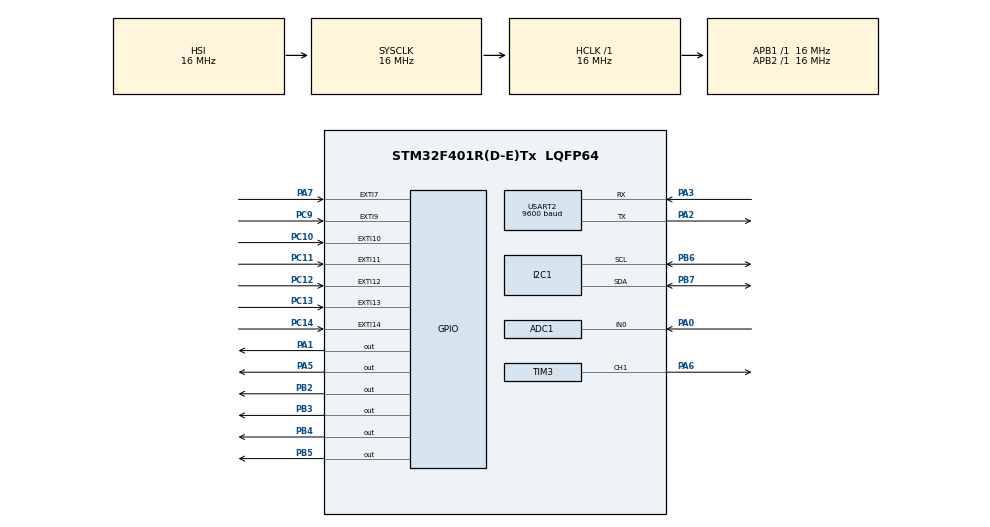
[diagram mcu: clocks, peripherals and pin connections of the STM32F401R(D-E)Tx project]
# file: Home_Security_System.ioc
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ADC1.Channel-0\#ChannelRegularConversion=ADC_CHANNEL_0
ADC1.ContinuousConvMode=ENABLE
ADC1.DMAContinuousRequests=DISABLE
ADC1.EOCSelection=ADC_EOC_SEQ_CONV
ADC1.NbrOfConversionFlag=1
ADC1.Rank-0\#ChannelRegularConversion=1
ADC1.SamplingTime-0\#ChannelRegularConversion=ADC_SAMPLETIME_480CYCLES
ADC1.master=1
Dma.I2C1_RX.0.Direction=DMA_PERIPH_TO_MEMORY
Dma.I2C1_RX.0.FIFOMode=DMA_FIFOMODE_DISABLE
Dma.I2C1_RX.0.Instance=DMA1_Stream0
Dma.I2C1_RX.0.MemDataAlignment=DMA_MDATAALIGN_BYTE
Dma.I2C1_RX.0.MemInc=DMA_MINC_ENABLE
Dma.I2C1_RX.0.Mode=DMA_NORMAL
Dma.I2C1_RX.0.PeriphDataAlignment=DMA_PDATAALIGN_BYTE
Dma.I2C1_RX.0.PeriphInc=DMA_PINC_DISABLE
Dma.I2C1_RX.0.Priority=DMA_PRIORITY_LOW
Dma.I2C1_TX.1.Direction=DMA_MEMORY_TO_PERIPH
Dma.I2C1_TX.1.FIFOMode=DMA_FIFOMODE_DISABLE
Dma.I2C1_TX.1.Instance=DMA1_Stream7
Dma.I2C1_TX.1.MemDataAlignment=DMA_MDATAALIGN_BYTE
Dma.I2C1_TX.1.MemInc=DMA_MINC_ENABLE
Dma.I2C1_TX.1.Mode=DMA_NORMAL
Dma.I2C1_TX.1.PeriphDataAlignment=DMA_PDATAALIGN_BYTE
Dma.I2C1_TX.1.PeriphInc=DMA_PINC_DISABLE
Dma.I2C1_TX.1.Priority=DMA_PRIORITY_LOW
Dma.Request0=I2C1_RX
Dma.Request1=I2C1_TX
Dma.Request2=USART2_TX
Dma.Request3=USART2_RX
Dma.USART2_RX.3.Direction=DMA_PERIPH_TO_MEMORY
Dma.USART2_RX.3.FIFOMode=DMA_FIFOMODE_DISABLE
Dma.USART2_RX.3.Instance=DMA1_Stream5
Dma.USART2_RX.3.MemDataAlignment=DMA_MDATAALIGN_BYTE
Dma.USART2_RX.3.MemInc=DMA_MINC_ENABLE
Dma.USART2_RX.3.Mode=DMA_NORMAL
Dma.USART2_RX.3.PeriphDataAlignment=DMA_PDATAALIGN_BYTE
Dma.USART2_RX.3.PeriphInc=DMA_PINC_DISABLE
Dma.USART2_RX.3.Priority=DMA_PRIORITY_LOW
Dma.USART2_TX.2.Direction=DMA_MEMORY_TO_PERIPH
Dma.USART2_TX.2.FIFOMode=DMA_FIFOMODE_DISABLE
Dma.USART2_TX.2.Instance=DMA1_Stream6
Dma.USART2_TX.2.MemDataAlignment=DMA_MDATAALIGN_BYTE
Dma.USART2_TX.2.MemInc=DMA_MINC_ENABLE
Dma.USART2_TX.2.Mode=DMA_NORMAL
Dma.USART2_TX.2.PeriphDataAlignment=DMA_PDATAALIGN_BYTE
Dma.USART2_TX.2.PeriphInc=DMA_PINC_DISABLE
Dma.USART2_TX.2.Priority=DMA_PRIORITY_LOW
Mcu.Family=STM32F4
Mcu.Name=STM32F401R(D-E)Tx
Mcu.Package=LQFP64
NVIC.ADC_IRQn=true\:0\:0\:false\:false\:true\:true\:true
NVIC.DMA1_Stream0_IRQn=true\:0\:0\:false\:false\:true\:false\:true
NVIC.DMA1_Stream5_IRQn=true\:0\:0\:false\:false\:true\:false\:true
NVIC.DMA1_Stream6_IRQn=true\:0\:0\:false\:false\:true\:false\:true
NVIC.DMA1_Stream7_IRQn=true\:0\:0\:false\:false\:true\:false\:true
NVIC.EXTI15_10_IRQn=true\:0\:0\:false\:false\:true\:true\:true
NVIC.EXTI9_5_IRQn=true\:0\:0\:false\:false\:true\:true\:true
NVIC.PriorityGroup=NVIC_PRIORITYGROUP_4
NVIC.TIM1_TRG_COM_TIM11_IRQn=true\:0\:0\:false\:false\:true\:true\:true
NVIC.TIM1_UP_TIM10_IRQn=true\:0\:0\:false\:false\:true\:true\:true
NVIC.TIM2_IRQn=true\:0\:0\:false\:false\:true\:true\:true
NVIC.TIM3_IRQn=true\:0\:0\:false\:false\:true\:true\:true
NVIC.USART2_IRQn=true\:0\:0\:false\:false\:true\:true\:true
PA0-WKUP.Signal=ADCx_IN0
PA1.Signal=GPIO_Output
PA2.Mode=Asynchronous
PA2.Signal=USART2_TX
PA3.Mode=Asynchronous
PA3.Signal=USART2_RX
PA5.Signal=GPIO_Output
PA6.Signal=S_TIM3_CH1
PA7.GPIO_ModeDefaultEXTI=GPIO_MODE_IT_RISING_FALLING
PA7.GPIO_PuPd=GPIO_PULLDOWN
PA7.Signal=GPXTI7
PB2.Signal=GPIO_Output
PB3.Signal=GPIO_Output
PB4.Signal=GPIO_Output
PB5.Signal=GPIO_Output
PB6.Mode=I2C
PB6.Signal=I2C1_SCL
PB7.Mode=I2C
PB7.Signal=I2C1_SDA
PC10.GPIO_ModeDefaultEXTI=GPIO_MODE_IT_RISING
PC10.GPIO_PuPd=GPIO_PULLDOWN
PC10.Signal=GPXTI10
PC11.GPIO_ModeDefaultEXTI=GPIO_MODE_IT_RISING
PC11.GPIO_PuPd=GPIO_PULLDOWN
PC11.Signal=GPXTI11
PC12.GPIO_ModeDefaultEXTI=GPIO_MODE_IT_RISING
PC12.GPIO_PuPd=GPIO_PULLDOWN
PC12.Signal=GPXTI12
PC13-ANTI_TAMP.Signal=GPXTI13
PC14-OSC32_IN.Signal=GPXTI14
PC9.GPIO_ModeDefaultEXTI=GPIO_MODE_IT_RISING
PC9.GPIO_PuPd=GPIO_PULLDOWN
PC9.Signal=GPXTI9
ProjectManager.HeapSize=0x200
ProjectManager.StackSize=0x400
ProjectManager.TargetToolchain=STM32CubeIDE
RCC.AHBFreq_Value=16000000
RCC.APB1Freq_Value=16000000
RCC.APB2Freq_Value=16000000
RCC.CortexFreq_Value=16000000
RCC.HSE_VALUE=25000000
RCC.HSI_VALUE=16000000
RCC.LSE_VALUE=32768
RCC.SYSCLKFreq_VALUE=16000000
RCC.VCOOutputFreq_Value=192000000
SH.ADCx_IN0.0=ADC1_IN0,IN0
SH.S_TIM3_CH1.0=TIM3_CH1,PWM Generation1 CH1
TIM1.Period=999
TIM1.Prescaler=15999
TIM10.Period=0
TIM10.Prescaler=15999
TIM11.Prescaler=15999
TIM2.Period=999
TIM2.Prescaler=15999
TIM3.Channel-PWM\ Generation1\ CH1=TIM_CHANNEL_1
TIM3.OC1Preload_PWM=DISABLE
TIM3.Period=999
TIM3.Prescaler=15999
TIM3.TIM_MasterOutputTrigger=TIM_TRGO_RESET
USART2.BaudRate=9600
USART2.VirtualMode=VM_ASYNC
VP_TIM10_VS_ClockSourceINT.Mode=Enable_Timer
VP_TIM11_VS_ClockSourceINT.Mode=Enable_Timer
VP_TIM1_VS_ClockSourceINT.Mode=Internal
VP_TIM2_VS_ClockSourceINT.Mode=Internal
VP_TIM3_VS_ClockSourceINT.Mode=Internal
board=custom

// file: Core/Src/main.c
/* USER CODE BEGIN Header */
/**
  ******************************************************************************
  * @file           : main.c
  * @brief          : Main program body
  ******************************************************************************
  * @attention
  *
  * <h2><center>&copy; Copyright (c) 2020 STMicroelectronics.
  * All rights reserved.</center></h2>
  *
  * This software component is licensed by ST under BSD 3-Clause license,
  * the "License"; You may not use this file except in compliance with the
  * License. You may obtain a copy of the License at:
  *                        opensource.org/licenses/BSD-3-Clause
  *
  ******************************************************************************
  */
/* USER CODE END Header */

#include "main.h"
#include "adc.h"
#include "dma.h"
#include "i2c.h"
#include "tim.h"
#include "usart.h"
#include "gpio.h"

/* USER CODE BEGIN Includes */
#include "system.h"
#include "ds1307rtc.h"
#include "uart_handler.h"
#include "system_log.h"
#include "system_led.h"
#include "string.h"
#include "stdio.h"
/* USER CODE END Includes */

/* USER CODE BEGIN PD */
/**
 * @brief waiting time for user inserting START
 */
#define WAITING_TIME (30000)
/**
 * @brief buffer size for waiting procedure
 */
#define BUFFER_WAITING_SIZE (6)

#define START_STRING ("START")
/* USER CODE END PD */

void SystemClock_Config(void);
/* USER CODE BEGIN PFP */
int8_t check_putty();
/* USER CODE END PFP */

int main(void)
{

  /* MCU Configuration--------------------------------------------------------*/

  /* Reset of all peripherals, Initializes the Flash interface and the Systick. */
  HAL_Init();

  /* Configure the system clock */
  SystemClock_Config();

  /* Initialize all configured peripherals */
  MX_GPIO_Init();
  MX_DMA_Init();
  MX_TIM10_Init();
  MX_USART2_UART_Init();
  MX_ADC1_Init();
  MX_I2C1_Init();
  MX_TIM3_Init();
  MX_TIM11_Init();
  MX_TIM1_Init();
  MX_TIM2_Init();
  /* USER CODE BEGIN 2 */
  //init_system(SYSTEM_ACTIVE);
  /* USER CODE END 2 */

  /* Infinite loop */
  /* USER CODE BEGIN WHILE */

  while(check_putty() != 0){}

  if(init_system() == SYS_OK)
	  run_system();

  while (1)
  {
    /* USER CODE END WHILE */

  }
}

void SystemClock_Config(void)
{
  RCC_OscInitTypeDef RCC_OscInitStruct = {0};
  RCC_ClkInitTypeDef RCC_ClkInitStruct = {0};

  /** Configure the main internal regulator output voltage
  */
  __HAL_RCC_PWR_CLK_ENABLE();
  __HAL_PWR_VOLTAGESCALING_CONFIG(PWR_REGULATOR_VOLTAGE_SCALE2);
  /** Initializes the CPU, AHB and APB busses clocks
  */
  RCC_OscInitStruct.OscillatorType = RCC_OSCILLATORTYPE_HSI;
  RCC_OscInitStruct.HSIState = RCC_HSI_ON;
  RCC_OscInitStruct.HSICalibrationValue = RCC_HSICALIBRATION_DEFAULT;
  RCC_OscInitStruct.PLL.PLLState = RCC_PLL_NONE;
  if (HAL_RCC_OscConfig(&RCC_OscInitStruct) != HAL_OK)
  {
    Error_Handler();
  }
  /** Initializes the CPU, AHB and APB busses clocks
  */
  RCC_ClkInitStruct.ClockType = RCC_CLOCKTYPE_HCLK|RCC_CLOCKTYPE_SYSCLK
                              |RCC_CLOCKTYPE_PCLK1|RCC_CLOCKTYPE_PCLK2;
  RCC_ClkInitStruct.SYSCLKSource = RCC_SYSCLKSOURCE_HSI;
  RCC_ClkInitStruct.AHBCLKDivider = RCC_SYSCLK_DIV1;
  RCC_ClkInitStruct.APB1CLKDivider = RCC_HCLK_DIV1;
  RCC_ClkInitStruct.APB2CLKDivider = RCC_HCLK_DIV1;

  if (HAL_RCC_ClockConfig(&RCC_ClkInitStruct, FLASH_LATENCY_0) != HAL_OK)
  {
    Error_Handler();
  }
}

/* USER CODE BEGIN 4 */
/**
 * @brief wait for user, that must insert START before the system boots.
 * @retval operation result, 0 if START has been inserted or -1 if not
 */
int8_t check_putty(){

	uint8_t buffer[BUFFER_WAITING_SIZE];
	sprintf((char *)buffer,"\n\r");
	HAL_UART_Transmit(&huart2, buffer, strlen((char *)buffer), HAL_MAX_DELAY);
	HAL_StatusTypeDef retr_val = HAL_UART_Receive(&huart2, buffer, strlen(START_STRING), WAITING_TIME); // wait 30 seconds for START
	if(retr_val == HAL_OK && strcmp(START_STRING, (char *)buffer) == 0){
		HAL_UART_Transmit(&huart2, buffer, strlen((char *)buffer), HAL_MAX_DELAY); // send back the inserted START string
		return 0;
	}else{
		sprintf((char*)buffer, "ERROR");
		HAL_UART_Transmit(&huart2, buffer, strlen((char *)buffer), HAL_MAX_DELAY); // send error string
	}
		return -1;

}
/* USER CODE END 4 */

void Error_Handler(void)
{
}

/************************ (C) COPYRIGHT STMicroelectronics *****END OF FILE****/
